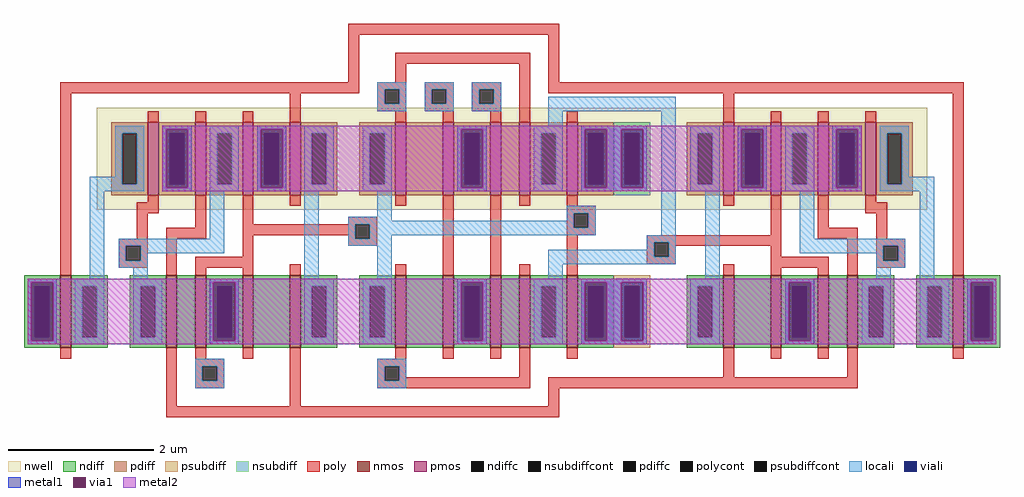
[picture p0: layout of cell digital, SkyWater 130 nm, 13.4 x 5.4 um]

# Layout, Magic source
magic
tech sky130A
<< nwell >>
rect -70 190 1070 330
<< nmos >>
rect -120 0 -105 100
rect 25 0 40 100
rect 65 0 80 100
rect 130 0 145 100
rect 195 0 210 100
rect 340 0 355 100
rect 405 0 420 100
rect 470 0 485 100
rect 510 0 525 100
rect 575 0 590 100
rect 790 0 805 100
rect 855 0 870 100
rect 920 0 935 100
rect 960 0 975 100
rect 1105 0 1120 100
<< pmos >>
rect 0 210 15 310
rect 65 210 80 310
rect 130 210 145 310
rect 195 210 210 310
rect 340 210 355 310
rect 405 210 420 310
rect 470 210 485 310
rect 510 210 525 310
rect 575 210 590 310
rect 790 210 805 310
rect 855 210 870 310
rect 920 210 935 310
rect 985 210 1000 310
<< ndiff >>
rect -170 85 -120 100
rect -170 15 -155 85
rect -135 15 -120 85
rect -170 0 -120 15
rect -105 85 -55 100
rect -105 15 -90 85
rect -70 15 -55 85
rect -105 0 -55 15
rect -25 85 25 100
rect -25 15 -10 85
rect 10 15 25 85
rect -25 0 25 15
rect 40 0 65 100
rect 80 85 130 100
rect 80 15 95 85
rect 115 15 130 85
rect 80 0 130 15
rect 145 0 195 100
rect 210 85 260 100
rect 210 15 225 85
rect 245 15 260 85
rect 210 0 260 15
rect 290 85 340 100
rect 290 15 305 85
rect 325 15 340 85
rect 290 0 340 15
rect 355 0 405 100
rect 420 85 470 100
rect 420 15 435 85
rect 455 15 470 85
rect 420 0 470 15
rect 485 0 510 100
rect 525 85 575 100
rect 525 15 540 85
rect 560 15 575 85
rect 525 0 575 15
rect 590 85 640 100
rect 590 15 605 85
rect 625 15 640 85
rect 590 0 640 15
rect 740 85 790 100
rect 740 15 755 85
rect 775 15 790 85
rect 740 0 790 15
rect 805 0 855 100
rect 870 85 920 100
rect 870 15 885 85
rect 905 15 920 85
rect 870 0 920 15
rect 935 0 960 100
rect 975 85 1025 100
rect 975 15 990 85
rect 1010 15 1025 85
rect 975 0 1025 15
rect 1055 85 1105 100
rect 1055 15 1070 85
rect 1090 15 1105 85
rect 1055 0 1105 15
rect 1120 85 1170 100
rect 1120 15 1135 85
rect 1155 15 1170 85
rect 1120 0 1170 15
<< pdiff >>
rect -50 295 0 310
rect -50 225 -35 295
rect -15 225 0 295
rect -50 210 0 225
rect 15 295 65 310
rect 15 225 30 295
rect 50 225 65 295
rect 15 210 65 225
rect 80 295 130 310
rect 80 225 95 295
rect 115 225 130 295
rect 80 210 130 225
rect 145 295 195 310
rect 145 225 160 295
rect 180 225 195 295
rect 145 210 195 225
rect 210 295 260 310
rect 210 225 225 295
rect 245 225 260 295
rect 210 210 260 225
rect 290 295 340 310
rect 290 225 305 295
rect 325 225 340 295
rect 290 210 340 225
rect 355 210 405 310
rect 420 295 470 310
rect 420 225 435 295
rect 455 225 470 295
rect 420 210 470 225
rect 485 210 510 310
rect 525 295 575 310
rect 525 225 540 295
rect 560 225 575 295
rect 525 210 575 225
rect 590 295 640 310
rect 590 225 605 295
rect 625 225 640 295
rect 590 210 640 225
rect 740 295 790 310
rect 740 225 755 295
rect 775 225 790 295
rect 740 210 790 225
rect 805 295 855 310
rect 805 225 820 295
rect 840 225 855 295
rect 805 210 855 225
rect 870 295 920 310
rect 870 225 885 295
rect 905 225 920 295
rect 870 210 920 225
rect 935 295 985 310
rect 935 225 950 295
rect 970 225 985 295
rect 935 210 985 225
rect 1000 295 1050 310
rect 1000 225 1015 295
rect 1035 225 1050 295
rect 1000 210 1050 225
<< ndiffc >>
rect -155 15 -135 85
rect -90 15 -70 85
rect -10 15 10 85
rect 95 15 115 85
rect 225 15 245 85
rect 305 15 325 85
rect 435 15 455 85
rect 540 15 560 85
rect 605 15 625 85
rect 755 15 775 85
rect 885 15 905 85
rect 990 15 1010 85
rect 1070 15 1090 85
rect 1135 15 1155 85
<< pdiffc >>
rect -35 225 -15 295
rect 30 225 50 295
rect 95 225 115 295
rect 160 225 180 295
rect 225 225 245 295
rect 305 225 325 295
rect 435 225 455 295
rect 540 225 560 295
rect 605 225 625 295
rect 755 225 775 295
rect 820 225 840 295
rect 885 225 905 295
rect 950 225 970 295
rect 1015 225 1035 295
<< psubdiff >>
rect 640 85 690 100
rect 640 15 655 85
rect 675 15 690 85
rect 640 0 690 15
<< nsubdiff >>
rect 640 295 690 310
rect 640 225 655 295
rect 675 225 690 295
rect 640 210 690 225
<< psubdiffcont >>
rect 655 15 675 85
<< nsubdiffcont >>
rect 655 225 675 295
<< poly >>
rect 275 430 565 445
rect 275 365 290 430
rect 340 390 525 405
rect 340 365 355 390
rect -120 350 290 365
rect 315 355 355 365
rect -120 100 -105 350
rect 0 310 15 325
rect 65 310 80 325
rect 130 310 145 325
rect 195 310 210 350
rect 315 335 325 355
rect 345 335 355 355
rect 315 325 355 335
rect 380 355 420 365
rect 380 335 390 355
rect 410 335 420 355
rect 380 325 420 335
rect 445 355 485 365
rect 445 335 455 355
rect 475 335 485 355
rect 445 325 485 335
rect 340 310 355 325
rect 405 310 420 325
rect 470 310 485 325
rect 510 310 525 390
rect 550 365 565 430
rect 550 350 1120 365
rect 575 310 590 325
rect 790 310 805 350
rect 855 310 870 325
rect 920 310 935 325
rect 985 310 1000 325
rect 0 200 15 210
rect -15 185 15 200
rect -15 150 0 185
rect 65 165 80 210
rect -40 140 0 150
rect -40 120 -30 140
rect -10 120 0 140
rect -40 110 0 120
rect 25 150 80 165
rect 130 170 145 210
rect 195 195 210 210
rect 340 195 355 210
rect 275 170 315 180
rect 130 155 285 170
rect 25 100 40 150
rect 130 125 145 155
rect 275 150 285 155
rect 305 150 315 170
rect 275 140 315 150
rect 65 110 145 125
rect 65 100 80 110
rect 130 100 145 110
rect 195 100 210 115
rect 340 100 355 115
rect 405 100 420 210
rect 470 100 485 210
rect 510 195 525 210
rect 575 195 590 210
rect 790 195 805 210
rect 575 185 615 195
rect 575 165 585 185
rect 605 165 615 185
rect 575 155 615 165
rect 855 155 870 210
rect 510 100 525 115
rect 575 100 590 155
rect 685 145 870 155
rect 920 165 935 210
rect 985 200 1000 210
rect 985 185 1015 200
rect 920 150 975 165
rect 685 125 695 145
rect 715 140 870 145
rect 715 125 725 140
rect 685 115 725 125
rect 855 125 870 140
rect 790 100 805 115
rect 855 110 935 125
rect 855 100 870 110
rect 920 100 935 110
rect 960 100 975 150
rect 1000 150 1015 185
rect 1000 140 1040 150
rect 1000 120 1010 140
rect 1030 120 1040 140
rect 1000 110 1040 120
rect 1105 100 1120 350
rect -120 -15 -105 0
rect 25 -80 40 0
rect 65 -15 80 0
rect 130 -15 145 0
rect 65 -25 105 -15
rect 65 -45 75 -25
rect 95 -45 105 -25
rect 65 -55 105 -45
rect 195 -80 210 0
rect 340 -15 355 0
rect 405 -15 420 0
rect 470 -15 485 0
rect 315 -25 355 -15
rect 315 -45 325 -25
rect 345 -40 355 -25
rect 510 -40 525 0
rect 575 -15 590 0
rect 790 -40 805 0
rect 855 -15 870 0
rect 920 -15 935 0
rect 960 -40 975 0
rect 1105 -15 1120 0
rect 345 -45 525 -40
rect 315 -55 525 -45
rect 550 -55 975 -40
rect 550 -80 565 -55
rect 25 -95 565 -80
<< polycont >>
rect 325 335 345 355
rect 390 335 410 355
rect 455 335 475 355
rect -30 120 -10 140
rect 285 150 305 170
rect 585 165 605 185
rect 695 125 715 145
rect 1010 120 1030 140
rect 75 -45 95 -25
rect 325 -45 345 -25
<< locali >>
rect 315 355 355 365
rect 315 335 325 355
rect 345 335 355 355
rect 315 325 355 335
rect 380 355 420 365
rect 380 335 390 355
rect 410 335 420 355
rect 380 325 420 335
rect 445 355 485 365
rect 445 335 455 355
rect 475 335 485 355
rect 445 325 485 335
rect 550 325 725 345
rect 550 305 570 325
rect -45 295 -5 305
rect -45 235 -35 295
rect -80 225 -35 235
rect -15 225 -5 295
rect -80 215 -5 225
rect 20 295 60 305
rect 20 225 30 295
rect 50 225 60 295
rect 20 215 60 225
rect 85 295 125 305
rect 85 225 95 295
rect 115 225 125 295
rect 85 215 125 225
rect 150 295 190 305
rect 150 225 160 295
rect 180 225 190 295
rect 150 215 190 225
rect 215 295 255 305
rect 215 225 225 295
rect 245 225 255 295
rect 215 215 255 225
rect 295 295 335 305
rect 295 225 305 295
rect 325 225 335 295
rect 295 215 335 225
rect 425 295 465 305
rect 425 225 435 295
rect 455 225 465 295
rect 425 215 465 225
rect 530 295 570 305
rect 530 225 540 295
rect 560 225 570 295
rect 530 215 570 225
rect 595 295 685 305
rect 595 225 605 295
rect 625 225 655 295
rect 675 225 685 295
rect 595 215 685 225
rect -80 95 -60 215
rect 85 150 105 215
rect -40 140 105 150
rect -40 120 -30 140
rect -10 130 105 140
rect -10 120 0 130
rect -40 110 0 120
rect -165 85 -125 95
rect -165 15 -155 85
rect -135 15 -125 85
rect -165 5 -125 15
rect -100 85 -60 95
rect -100 15 -90 85
rect -70 15 -60 85
rect -100 5 -60 15
rect -20 95 0 110
rect 215 95 235 215
rect 315 180 335 215
rect 275 175 335 180
rect 575 185 615 195
rect 575 175 585 185
rect 275 170 585 175
rect 275 150 285 170
rect 305 165 585 170
rect 605 165 615 185
rect 305 155 615 165
rect 705 155 725 325
rect 745 295 785 305
rect 745 225 755 295
rect 775 225 785 295
rect 745 215 785 225
rect 810 295 850 305
rect 810 225 820 295
rect 840 225 850 295
rect 810 215 850 225
rect 875 295 915 305
rect 875 225 885 295
rect 905 225 915 295
rect 875 215 915 225
rect 940 295 980 305
rect 940 225 950 295
rect 970 225 980 295
rect 940 215 980 225
rect 1005 295 1045 305
rect 1005 225 1015 295
rect 1035 235 1045 295
rect 1035 225 1080 235
rect 1005 215 1080 225
rect 305 150 335 155
rect 275 140 335 150
rect 315 95 335 140
rect 685 145 725 155
rect 685 135 695 145
rect 550 125 695 135
rect 715 125 725 145
rect 550 115 725 125
rect 550 95 570 115
rect 765 95 785 215
rect 895 150 915 215
rect 895 140 1040 150
rect 895 130 1010 140
rect 1000 120 1010 130
rect 1030 120 1040 140
rect 1000 110 1040 120
rect 1000 95 1020 110
rect -20 85 20 95
rect -20 15 -10 85
rect 10 15 20 85
rect -20 5 20 15
rect 85 85 125 95
rect 85 15 95 85
rect 115 15 125 85
rect 85 5 125 15
rect 215 85 255 95
rect 215 15 225 85
rect 245 15 255 85
rect 215 5 255 15
rect 295 85 335 95
rect 295 15 305 85
rect 325 15 335 85
rect 295 5 335 15
rect 425 85 465 95
rect 425 15 435 85
rect 455 15 465 85
rect 425 5 465 15
rect 530 85 570 95
rect 530 15 540 85
rect 560 15 570 85
rect 530 5 570 15
rect 595 85 685 95
rect 595 15 605 85
rect 625 15 655 85
rect 675 15 685 85
rect 595 5 685 15
rect 745 85 785 95
rect 745 15 755 85
rect 775 15 785 85
rect 745 5 785 15
rect 875 85 915 95
rect 875 15 885 85
rect 905 15 915 85
rect 875 5 915 15
rect 980 85 1020 95
rect 980 15 990 85
rect 1010 15 1020 85
rect 980 5 1020 15
rect 1060 95 1080 215
rect 1060 85 1100 95
rect 1060 15 1070 85
rect 1090 15 1100 85
rect 1060 5 1100 15
rect 1125 85 1165 95
rect 1125 15 1135 85
rect 1155 15 1165 85
rect 1125 5 1165 15
rect 65 -25 105 -15
rect 65 -45 75 -25
rect 95 -45 105 -25
rect 65 -55 105 -45
rect 315 -25 355 -15
rect 315 -45 325 -25
rect 345 -45 355 -25
rect 315 -55 355 -45
<< viali >>
rect 30 225 50 295
rect 160 225 180 295
rect 435 225 455 295
rect 605 225 625 295
rect 655 225 675 295
rect -155 15 -135 85
rect 820 225 840 295
rect 950 225 970 295
rect 95 15 115 85
rect 435 15 455 85
rect 605 15 625 85
rect 655 15 675 85
rect 885 15 905 85
rect 1135 15 1155 85
<< metal1 >>
rect 20 300 60 305
rect 20 220 25 300
rect 55 220 60 300
rect 20 215 60 220
rect 150 300 190 305
rect 150 220 155 300
rect 185 220 190 300
rect 150 215 190 220
rect 425 300 465 305
rect 425 220 430 300
rect 460 220 465 300
rect 425 215 465 220
rect 595 300 685 305
rect 595 220 600 300
rect 630 220 650 300
rect 680 220 685 300
rect 595 215 685 220
rect 810 300 850 305
rect 810 220 815 300
rect 845 220 850 300
rect 810 215 850 220
rect 940 300 980 305
rect 940 220 945 300
rect 975 220 980 300
rect 940 215 980 220
rect -165 90 -125 95
rect -165 10 -160 90
rect -130 10 -125 90
rect -165 5 -125 10
rect 85 90 125 95
rect 85 10 90 90
rect 120 10 125 90
rect 85 5 125 10
rect 425 90 465 95
rect 425 10 430 90
rect 460 10 465 90
rect 425 5 465 10
rect 595 90 685 95
rect 595 10 600 90
rect 630 10 650 90
rect 680 10 685 90
rect 595 5 685 10
rect 875 90 915 95
rect 875 10 880 90
rect 910 10 915 90
rect 875 5 915 10
rect 1125 90 1165 95
rect 1125 10 1130 90
rect 1160 10 1165 90
rect 1125 5 1165 10
<< via1 >>
rect 25 295 55 300
rect 25 225 30 295
rect 30 225 50 295
rect 50 225 55 295
rect 25 220 55 225
rect 155 295 185 300
rect 155 225 160 295
rect 160 225 180 295
rect 180 225 185 295
rect 155 220 185 225
rect 430 295 460 300
rect 430 225 435 295
rect 435 225 455 295
rect 455 225 460 295
rect 430 220 460 225
rect 600 295 630 300
rect 600 225 605 295
rect 605 225 625 295
rect 625 225 630 295
rect 600 220 630 225
rect 650 295 680 300
rect 650 225 655 295
rect 655 225 675 295
rect 675 225 680 295
rect 650 220 680 225
rect 815 295 845 300
rect 815 225 820 295
rect 820 225 840 295
rect 840 225 845 295
rect 815 220 845 225
rect 945 295 975 300
rect 945 225 950 295
rect 950 225 970 295
rect 970 225 975 295
rect 945 220 975 225
rect -160 85 -130 90
rect -160 15 -155 85
rect -155 15 -135 85
rect -135 15 -130 85
rect -160 10 -130 15
rect 90 85 120 90
rect 90 15 95 85
rect 95 15 115 85
rect 115 15 120 85
rect 90 10 120 15
rect 430 85 460 90
rect 430 15 435 85
rect 435 15 455 85
rect 455 15 460 85
rect 430 10 460 15
rect 600 85 630 90
rect 600 15 605 85
rect 605 15 625 85
rect 625 15 630 85
rect 600 10 630 15
rect 650 85 680 90
rect 650 15 655 85
rect 655 15 675 85
rect 675 15 680 85
rect 650 10 680 15
rect 880 85 910 90
rect 880 15 885 85
rect 885 15 905 85
rect 905 15 910 85
rect 880 10 910 15
rect 1130 85 1160 90
rect 1130 15 1135 85
rect 1135 15 1155 85
rect 1155 15 1160 85
rect 1130 10 1160 15
<< metal2 >>
rect 20 300 980 305
rect 20 220 25 300
rect 55 220 155 300
rect 185 220 430 300
rect 460 220 600 300
rect 630 220 650 300
rect 680 220 815 300
rect 845 220 945 300
rect 975 220 980 300
rect 20 215 980 220
rect -165 90 1165 95
rect -165 10 -160 90
rect -130 10 90 90
rect 120 10 430 90
rect 460 10 600 90
rect 630 10 650 90
rect 680 10 880 90
rect 910 10 1130 90
rect 1160 10 1165 90
rect -165 5 1165 10
<< end >>
